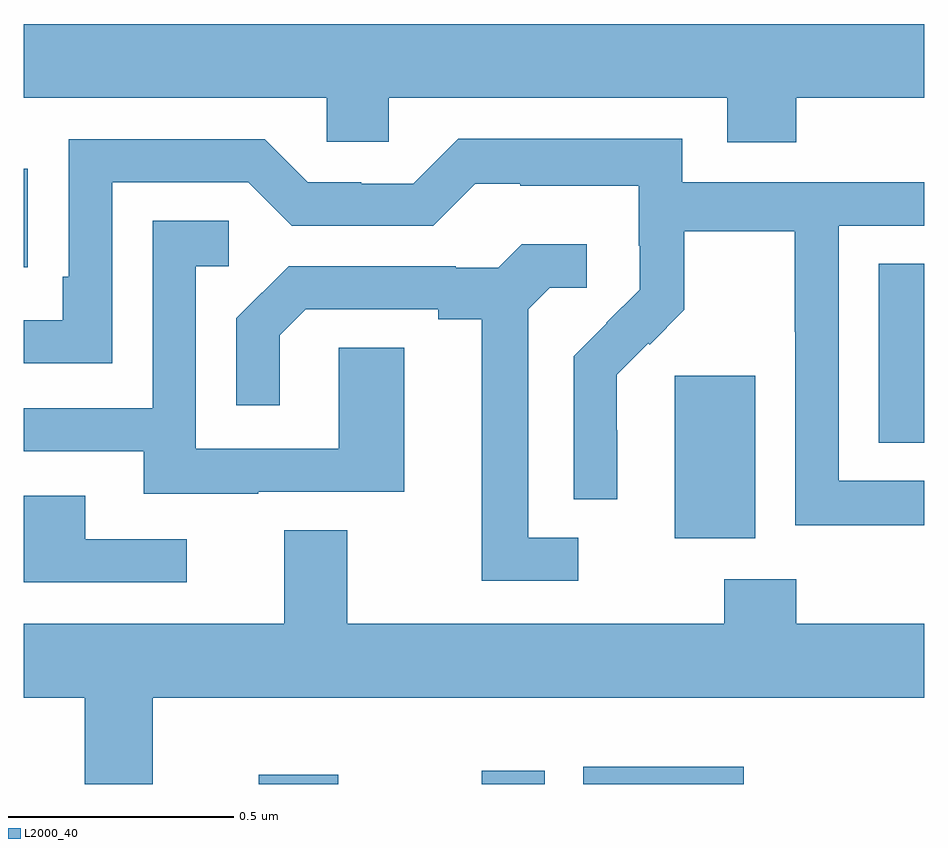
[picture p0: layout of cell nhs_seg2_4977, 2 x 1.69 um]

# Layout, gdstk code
import gdstk
lib = gdstk.Library(unit=1e-6, precision=1e-09)
def R(c, l, rs):  # rectangles x0, y0, x1, y1
    for r in rs: c.add(gdstk.rectangle(r[:2], r[2:], *l))
def P(c, l, *ps):  # polygons
    for p in ps: c.add(gdstk.Polygon(p, *l))
L2000_40 = (2000, 40)

nhs_seg2_4977 = lib.new_cell('nhs_seg2_4977')
R(nhs_seg2_4977, L2000_40, [(173.522,624.8,173.698,624.82), (174.017,624.8,174.157,624.829), (174.243,624.8,174.599,624.838), (174.446,625.346,174.625,625.707), (174.899,625.558,175,625.955), (173,625.948,173.009,626.167)])
P(nhs_seg2_4977, L2000_40, [(174.716,626.324),(175,626.324),(175,626.488),(173,626.488),(173,626.324),(173.673,626.324),(173.673,626.226),(173.811,626.226),(173.811,626.324),(174.563,626.324),(174.563,626.225),(174.716,626.225)],
  [(175,625.473),(174.81,625.473),(174.81,626.04),(175,626.04),(175,626.136),(174.462,626.136),(174.462,626.233),(173.965,626.233),(173.865,626.133),(173.75,626.133),(173.75,626.136),(173.631,626.136),(173.535,626.232),(173.1,626.232),(173.1,625.927),(173.087,625.927),(173.087,625.83),(173,625.83),(173,625.734),(173.196,625.734),(173.196,626.136),(173.499,626.136),(173.595,626.04),(173.91,626.04),(174.003,626.133),(174.103,626.133),(174.103,626.129),(174.366,626.129),(174.366,625.995),(174.368,625.995),(174.368,625.898),(174.294,625.824),(174.295,625.823),(174.222,625.75),(174.222,625.432),(174.318,625.432),(174.318,625.586),(174.317,625.586),(174.317,625.709),(174.387,625.779),(174.39,625.776),(174.467,625.853),(174.467,626.028),(174.712,626.028),(174.712,625.804),(174.714,625.804),(174.714,625.375),(175,625.375)],
  [(173.521,625.449),(173.845,625.449),(173.845,625.769),(173.7,625.769),(173.7,625.545),(173.382,625.545),(173.382,625.95),(173.455,625.95),(173.455,626.051),(173.286,626.051),(173.286,625.635),(173,625.635),(173,625.539),(173.267,625.539),(173.267,625.445),(173.521,625.445)],
  [(174.232,625.347),(174.121,625.347),(174.121,625.855),(174.168,625.902),(174.25,625.902),(174.25,625.999),(174.106,625.999),(174.054,625.947),(173.96,625.947),(173.96,625.95),(173.588,625.95),(173.472,625.834),(173.472,625.641),(173.569,625.641),(173.569,625.797),(173.626,625.854),(173.921,625.854),(173.921,625.832),(174.017,625.832),(174.017,625.251),(174.232,625.251)],
  [(173.362,625.344),(173.137,625.344),(173.137,625.44),(173,625.44),(173,625.248),(173.362,625.248)],
  [(173.287,624.992),(175,624.992),(175,625.156),(174.716,625.156),(174.716,625.255),(174.556,625.255),(174.556,625.156),(173.719,625.156),(173.719,625.364),(173.579,625.364),(173.579,625.156),(173,625.156),(173,624.992),(173.135,624.992),(173.135,624.8),(173.287,624.8)])

lib.write_gds('nhs_seg2_4977.gds')
